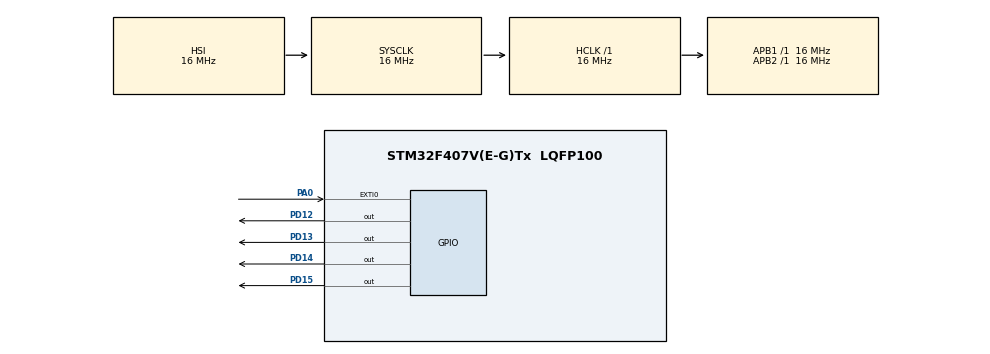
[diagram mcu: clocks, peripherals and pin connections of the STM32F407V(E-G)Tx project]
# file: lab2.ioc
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Mcu.Family=STM32F4
Mcu.Name=STM32F407V(E-G)Tx
Mcu.Package=LQFP100
NVIC.EXTI0_IRQn=true\:0\:0\:false\:false\:true\:true\:true\:true
NVIC.PriorityGroup=NVIC_PRIORITYGROUP_4
PA0-WKUP.Signal=GPXTI0
PD12.Signal=GPIO_Output
PD13.Signal=GPIO_Output
PD14.Signal=GPIO_Output
PD15.Signal=GPIO_Output
ProjectManager.HeapSize=0x200
ProjectManager.StackSize=0x400
ProjectManager.TargetToolchain=STM32CubeIDE
RCC.AHBFreq_Value=16000000
RCC.APB1Freq_Value=16000000
RCC.APB2Freq_Value=16000000
RCC.CortexFreq_Value=16000000
RCC.HSE_VALUE=25000000
RCC.HSI_VALUE=16000000
RCC.LSE_VALUE=32768
RCC.SYSCLKFreq_VALUE=16000000
RCC.VCOOutputFreq_Value=192000000
board=custom

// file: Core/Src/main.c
/* USER CODE BEGIN Header */
/**
  ******************************************************************************
  * @file           : main.c
  * @brief          : Main program body
  ******************************************************************************
  * @attention
  *
  * Copyright (c) 2025 STMicroelectronics.
  * All rights reserved.
  *
  * This software is licensed under terms that can be found in the LICENSE file
  * in the root directory of this software component.
  * If no LICENSE file comes with this software, it is provided AS-IS.
  *
  ******************************************************************************
  */
/* USER CODE END Header */
#include "main.h"

void SystemClock_Config(void);
static void MX_GPIO_Init(void);

/* USER CODE BEGIN 0 */

uint8_t mode = 0;

void delay_ms(uint32_t ms){
	HAL_Delay(ms);
}

void LEDs_Off(void){
	HAL_GPIO_WritePin(GPIOD, GPIO_PIN_12 |GPIO_PIN_13 | GPIO_PIN_14 | GPIO_PIN_15, GPIO_PIN_RESET);
}

void mode1(void){
	uint16_t leds[] = {GPIO_PIN_12, GPIO_PIN_13, GPIO_PIN_14, GPIO_PIN_15};
	for (int i = 0; i < 4; i++) {
		LEDs_Off();
		HAL_GPIO_WritePin(GPIOD, leds [i], GPIO_PIN_SET);
		delay_ms(150);
	}
}

void mode2(void){
	HAL_GPIO_WritePin(GPIOD, GPIO_PIN_12 |GPIO_PIN_13 | GPIO_PIN_14 | GPIO_PIN_15, GPIO_PIN_SET);
	delay_ms(200);
	LEDs_Off();
	delay_ms(200);
}

void mode3(void){
	uint16_t leds[] = {GPIO_PIN_12, GPIO_PIN_13, GPIO_PIN_14, GPIO_PIN_15};
	for (int i = 0; i < 4; i++) {
		HAL_GPIO_WritePin(GPIOD, leds [i], GPIO_PIN_SET);
		delay_ms(100);
		HAL_GPIO_WritePin(GPIOD, leds [i], GPIO_PIN_RESET);
	}
	for (int i = 2; i > 0; i--) {
		HAL_GPIO_WritePin(GPIOD, leds [i], GPIO_PIN_SET);
		delay_ms(100);
		HAL_GPIO_WritePin(GPIOD, leds [i], GPIO_PIN_RESET);
	}
}

void mode4(void){
	HAL_GPIO_WritePin(GPIOD, GPIO_PIN_12 |GPIO_PIN_14, GPIO_PIN_SET);
	HAL_GPIO_WritePin(GPIOD, GPIO_PIN_13 |GPIO_PIN_15, GPIO_PIN_RESET);
	delay_ms(250);

	HAL_GPIO_WritePin(GPIOD, GPIO_PIN_12 |GPIO_PIN_14, GPIO_PIN_RESET);
	HAL_GPIO_WritePin(GPIOD, GPIO_PIN_13 |GPIO_PIN_15, GPIO_PIN_SET);
	delay_ms(250);
}

/* USER CODE END 0 */

int main(void)
{

  /* MCU Configuration--------------------------------------------------------*/

  /* Reset of all peripherals, Initializes the Flash interface and the Systick. */
  HAL_Init();

  /* Configure the system clock */
  SystemClock_Config();

  /* Initialize all configured peripherals */
  MX_GPIO_Init();
  /* USER CODE BEGIN 2 */
  uint32_t lastSwitch = HAL_GetTick();
  /* USER CODE END 2 */

  /* Infinite loop */
  /* USER CODE BEGIN WHILE */
  while (1)
  {
	  if (HAL_GetTick() - lastSwitch >= 3000)
	  {
		  mode = (mode + 1) % 4;
		  lastSwitch = HAL_GetTick();
	  }

	  switch(mode)
	  {
	  	case 0: mode1(); break;
	  	case 1: mode2(); break;
	  	case 2: mode3(); break;
	  	case 3: mode4(); break;
	  }
    /* USER CODE END WHILE */

  }
}

void SystemClock_Config(void)
{
  RCC_OscInitTypeDef RCC_OscInitStruct = {0};
  RCC_ClkInitTypeDef RCC_ClkInitStruct = {0};

  /** Configure the main internal regulator output voltage
  */
  __HAL_RCC_PWR_CLK_ENABLE();
  __HAL_PWR_VOLTAGESCALING_CONFIG(PWR_REGULATOR_VOLTAGE_SCALE1);

  /** Initializes the RCC Oscillators according to the specified parameters
  * in the RCC_OscInitTypeDef structure.
  */
  RCC_OscInitStruct.OscillatorType = RCC_OSCILLATORTYPE_HSI;
  RCC_OscInitStruct.HSIState = RCC_HSI_ON;
  RCC_OscInitStruct.HSICalibrationValue = RCC_HSICALIBRATION_DEFAULT;
  RCC_OscInitStruct.PLL.PLLState = RCC_PLL_NONE;
  if (HAL_RCC_OscConfig(&RCC_OscInitStruct) != HAL_OK)
  {
    Error_Handler();
  }

  /** Initializes the CPU, AHB and APB buses clocks
  */
  RCC_ClkInitStruct.ClockType = RCC_CLOCKTYPE_HCLK|RCC_CLOCKTYPE_SYSCLK
                              |RCC_CLOCKTYPE_PCLK1|RCC_CLOCKTYPE_PCLK2;
  RCC_ClkInitStruct.SYSCLKSource = RCC_SYSCLKSOURCE_HSI;
  RCC_ClkInitStruct.AHBCLKDivider = RCC_SYSCLK_DIV1;
  RCC_ClkInitStruct.APB1CLKDivider = RCC_HCLK_DIV1;
  RCC_ClkInitStruct.APB2CLKDivider = RCC_HCLK_DIV1;

  if (HAL_RCC_ClockConfig(&RCC_ClkInitStruct, FLASH_LATENCY_0) != HAL_OK)
  {
    Error_Handler();
  }
}

static void MX_GPIO_Init(void)
{
  GPIO_InitTypeDef GPIO_InitStruct = {0};

  /* GPIO Ports Clock Enable */
  __HAL_RCC_GPIOA_CLK_ENABLE();
  __HAL_RCC_GPIOD_CLK_ENABLE();

  /*Configure GPIO pin Output Level */
  HAL_GPIO_WritePin(GPIOD, GPIO_PIN_12|GPIO_PIN_13|GPIO_PIN_14|GPIO_PIN_15, GPIO_PIN_RESET);

  /*Configure GPIO pin : PA0 */
  GPIO_InitStruct.Pin = GPIO_PIN_0;
  GPIO_InitStruct.Mode = GPIO_MODE_IT_RISING;
  GPIO_InitStruct.Pull = GPIO_NOPULL;
  HAL_GPIO_Init(GPIOA, &GPIO_InitStruct);

  /*Configure GPIO pins : PD12 PD13 PD14 PD15 */
  GPIO_InitStruct.Pin = GPIO_PIN_12|GPIO_PIN_13|GPIO_PIN_14|GPIO_PIN_15;
  GPIO_InitStruct.Mode = GPIO_MODE_OUTPUT_PP;
  GPIO_InitStruct.Pull = GPIO_NOPULL;
  GPIO_InitStruct.Speed = GPIO_SPEED_FREQ_LOW;
  HAL_GPIO_Init(GPIOD, &GPIO_InitStruct);

  /* EXTI interrupt init*/
  HAL_NVIC_SetPriority(EXTI0_IRQn, 0, 0);
  HAL_NVIC_EnableIRQ(EXTI0_IRQn);

}

void Error_Handler(void)
{
  __disable_irq();
  while (1)
  {
  }
}
